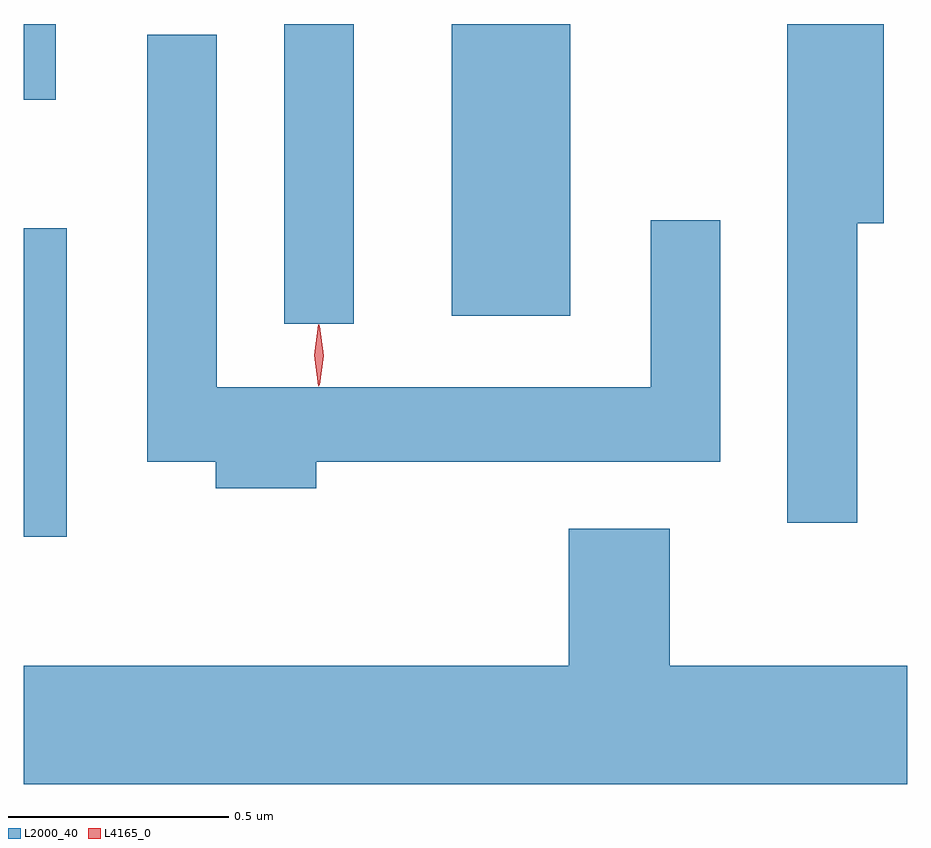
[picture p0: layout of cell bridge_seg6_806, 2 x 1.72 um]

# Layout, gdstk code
import gdstk
lib = gdstk.Library(unit=1e-6, precision=1e-09)
def R(c, l, rs):  # rectangles x0, y0, x1, y1
    for r in rs: c.add(gdstk.rectangle(r[:2], r[2:], *l))
def P(c, l, *ps):  # polygons
    for p in ps: c.add(gdstk.Polygon(p, *l))
L2000_40 = (2000, 40)
L4165_0 = (4165, 0)

bridge_seg6_806 = lib.new_cell('bridge_seg6_806')
R(bridge_seg6_806, L2000_40, [(501.407,1575.016,501.504,1575.714), (501.996,1575.498,502.154,1576.177), (502.376,1575.516,502.644,1576.177), (501.407,1576.006,501.479,1576.177)])
P(bridge_seg6_806, L2000_40, [(503.294,1575.726),(503.354,1575.726),(503.354,1576.177),(503.136,1576.177),(503.136,1575.048),(503.294,1575.048)],
  [(502.069,1575.186),(502.984,1575.186),(502.984,1575.733),(502.826,1575.733),(502.826,1575.354),(501.844,1575.354),(501.844,1576.153),(501.686,1576.153),(501.686,1575.186),(501.841,1575.186),(501.841,1575.126),(502.069,1575.126)],
  [(503.407,1574.724),(502.869,1574.724),(502.869,1575.034),(502.641,1575.034),(502.641,1574.724),(501.407,1574.724),(501.407,1574.456),(503.407,1574.456)])
P(bridge_seg6_806, L4165_0, [(502.075,1575.357),(502.074,1575.358),(502.065,1575.427),(502.074,1575.496),(502.075,1575.496),(502.076,1575.496),(502.085,1575.426),(502.075,1575.358)],
  [(502.077,1575.359),(502.076,1575.36),(502.067,1575.426),(502.076,1575.492),(502.076,1575.493),(502.077,1575.492),(502.086,1575.426),(502.077,1575.36)])

lib.write_gds('bridge_seg6_806.gds')
